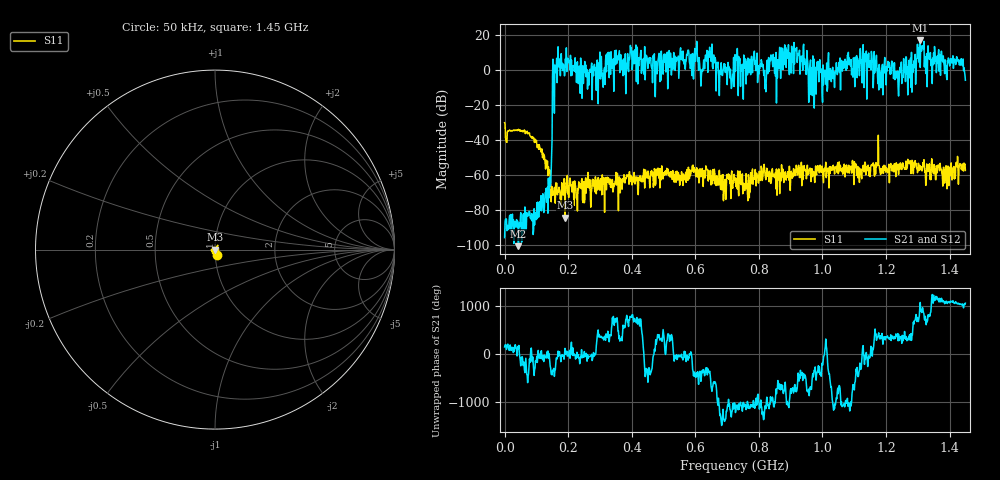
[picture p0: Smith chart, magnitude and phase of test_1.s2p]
! Created with skrf 1.11.0 (http://scikit-rf.org).
# Hz S RI R 50.0
!freq ReS11 ImS11 ReS21 ImS21 ReS12 ImS12 ReS22 ImS22
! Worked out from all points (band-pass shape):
!   1001 points, 50 kHz to 1.45 GHz, reference 50 ohm
!   highest |S21| = 16.97 dB at 1.306 GHz (marker M1); lowest = -100.5 dB at 43.55 MHz (marker M2)
!   |S21| within 3 dB of the highest: 395.8418 MHz to 395.9727 MHz (130.9 kHz wide, 0.0331 % of centre); 413.2035 MHz to 413.3147 MHz (111.2 kHz wide, 0.0269 % of centre) (the widest 2 of 13)
!   lowest |S11| = -84.1 dB at 190 MHz (marker M3), VSWR 1.00, Z = 50 - j0.0051 ohm
!   |S11| at or under -10 dB: start of sweep to end of sweep
!   |S22| runs from - to - dB; largest |S21 - S12| = 0
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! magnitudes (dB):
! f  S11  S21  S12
! 50 kHz  -29.9  -95.6  -95.6
! 43.55 MHz  -33.7  -100.5  -100.5
! 129.1 MHz  -56.4  -70.1  -70.1
! 142.1 MHz  -56.9  -61.2  -61.2
! 158.1 MHz  -68.1  3.0  3.0
! 190 MHz  -84.1  -1.0  -1.0
! 242.2 MHz  -62.9  1.1  1.1
! 398.8 MHz  -61.1  12.7  12.7
! 484.3 MHz  -59.9  7.1  7.1
! 604.7 MHz  -55.7  16.5  16.5
! 622.1 MHz  -56.1  0.4  0.4
! 645.3 MHz  -62.1  13.1  13.1
! 716.3 MHz  -66.0  -6.0  -6.0
! 725 MHz  -61.9  8.8  8.8
! 822.2 MHz  -62.5  -12.3  -12.3
! 838.1 MHz  -64.6  8.7  8.7
! 920.8 MHz  -59.9  4.4  4.4
! 967.2 MHz  -56.2  1.3  1.3
! 1.209 GHz  -53.7  4.5  4.5
! 1.276 GHz  -51.7  -0.7  -0.7
! 1.306 GHz  -54.4  17.0  17.0
! 1.45 GHz  -57.2  -5.7  -5.7
